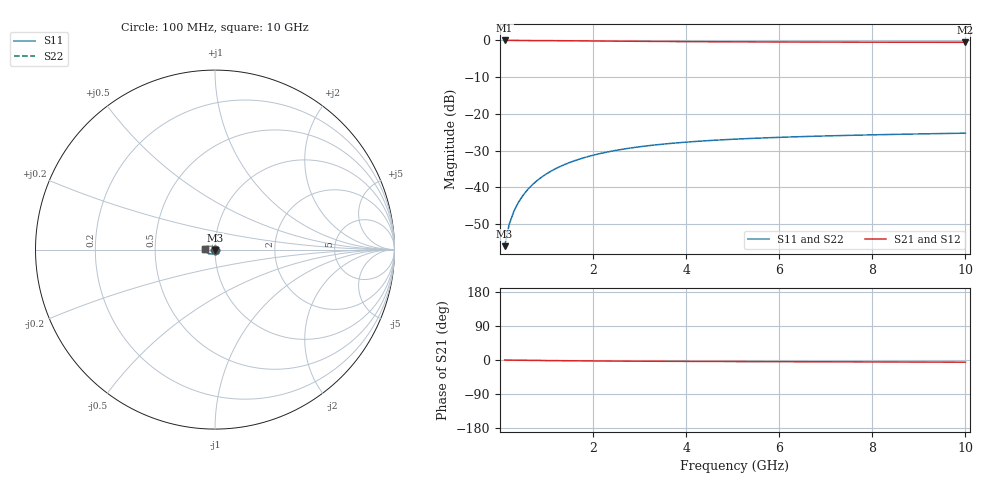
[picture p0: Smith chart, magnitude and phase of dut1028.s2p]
! Touchstone file exported from HFSS 2024.1.0
!  File:  C:/UserFiles/LocalFiles/RDL_TSV_Batchsim/temp_TSV1_1028_1780060555.aedt
!  Generated:  09:22:32 PM May 29, 2026
!  Design:  TSV1
!  Project:  temp_TSV1_1028_1780060555
!  Setup:  Setup1
!  Solution:  Sweep
! Variables:
!  dtsv = 11.96um
!  hbump = 3um
!  htsv = 89.73um
!  lrdl = 252.1521522um
!  p = 40
!  p1 = 56.3um
!  t = 500um
!  trdl = 3um
!  wrdl = 24.89489489um
# GHz S MA R 50.000000
! Terminal data exported
! Port[1] = TSV22_T1
! Port[2] = TSV22_T2
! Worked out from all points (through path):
!   100 points, 100 MHz to 10 GHz, reference 50 ohm
!   highest |S21| = 0.00 dB at 100 MHz (marker M1); lowest = -0.5 dB at 10 GHz (marker M2)
!   lowest |S11| = -56.0 dB at 100 MHz (marker M3), VSWR 1.00, Z = 50 - j0.159 ohm
!   |S11| at or under -10 dB: start of sweep to end of sweep
!   |S22| runs from -56.0 to -25.2 dB; largest |S21 - S12| = 3.1e-15
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0.1  0.001589 -88.0  0.9998 -0.2  0.9998 -0.2  0.001589 -88.0
! Gamma 0 0 0 0
! Port Impedance 50 0 50 0
0.2  0.003173 -91.8  0.9997 -0.3  0.9997 -0.3  0.003173 -91.8
0.3  0.004754 -94.3  0.9994 -0.5  0.9994 -0.5  0.004754 -94.3
0.4  0.006327 -96.5  0.999 -0.6  0.999 -0.6  0.006327 -96.5
0.5  0.007886 -98.5  0.9985 -0.7  0.9985 -0.7  0.007886 -98.5
0.6  0.009426 -100.6  0.9979 -0.9  0.9979 -0.9  0.009426 -100.6
0.7  0.01094 -102.5  0.9973 -1.0  0.9973 -1.0  0.01094 -102.5
0.8  0.01243 -104.5  0.9966 -1.2  0.9966 -1.2  0.01243 -104.5
0.9  0.01389 -106.4  0.9958 -1.3  0.9958 -1.3  0.01389 -106.4
1.1  0.0167 -110.1  0.994 -1.5  0.994 -1.5  0.0167 -110.1
1.4  0.02064 -115.3  0.9909 -1.9  0.9909 -1.9  0.02064 -115.3
1.6  0.02307 -118.6  0.9888 -2.1  0.9888 -2.1  0.02307 -118.6
1.8  0.02533 -121.8  0.9865 -2.3  0.9865 -2.3  0.02533 -121.8
2.1  0.02842 -126.2  0.9831 -2.5  0.9831 -2.5  0.02842 -126.2
2.5  0.03202 -131.7  0.9787 -2.8  0.9787 -2.8  0.03202 -131.7
2.9  0.03508 -136.6  0.9746 -3.1  0.9746 -3.1  0.03508 -136.6
3.4  0.03827 -142.1  0.9699 -3.4  0.9699 -3.4  0.03827 -142.1
4.2  0.04224 -149.6  0.9636 -3.7  0.9636 -3.7  0.04224 -149.6
5.1  0.04555 -156.6  0.958 -4.1  0.958 -4.1  0.04555 -156.6
6.7  0.04962 -166.6  0.9512 -4.6  0.9512 -4.6  0.04962 -166.6
8.4  0.0526 -175.1  0.9465 -5.2  0.9465 -5.2  0.0526 -175.1
10  0.05478 178.3  0.9435 -5.8  0.9435 -5.8  0.05478 178.3
